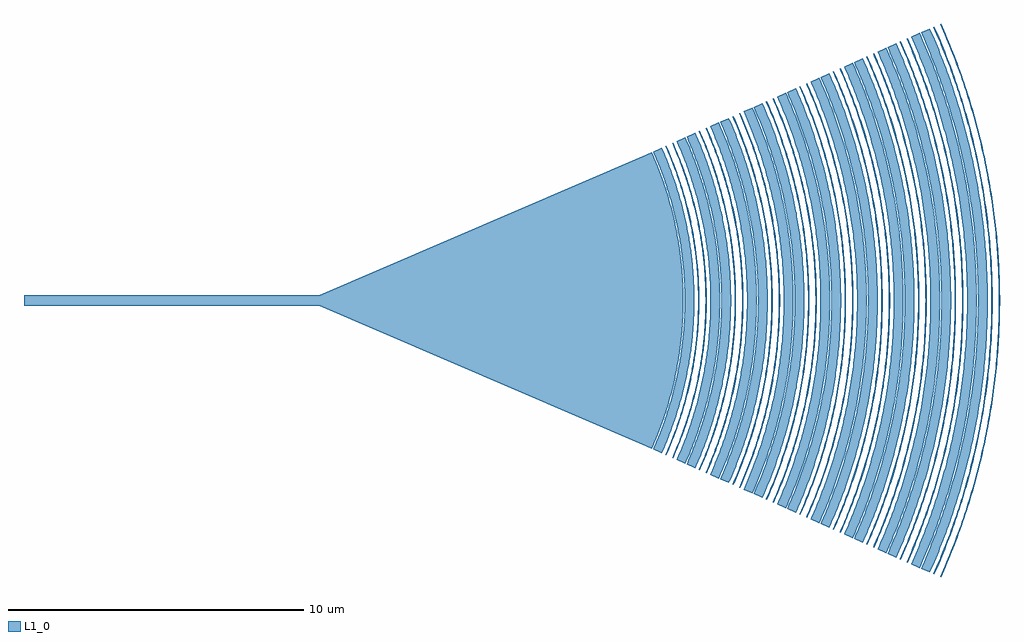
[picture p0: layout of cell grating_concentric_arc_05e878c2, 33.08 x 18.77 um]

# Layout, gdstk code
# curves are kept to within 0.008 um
import gdstk
lib = gdstk.Library(unit=1e-6, precision=2e-09)
def R(c, l, rs):  # rectangles x0, y0, x1, y1
    for r in rs: c.add(gdstk.rectangle(r[:2], r[2:], *l))
def P(c, l, *ps):  # polygons
    for p in ps: c.add(gdstk.Polygon(p, *l))
L1_0 = (1, 0)

straight_3aa2beef = lib.new_cell('straight_3aa2beef')
R(straight_3aa2beef, L1_0, [(0,-0.174,10,0.174)])

ring_c83c590c_transform_ = lib.new_cell('ring_c83c590c_transform_688dd2ba')
P(ring_c83c590c_transform_, L1_0, [(10.05,-4.474),(10.27,-3.942),(10.462,-3.4),(10.626,-2.848),(10.76,-2.288),(10.844,-1.848),(10.926,-1.278),(10.974,-0.768),(11,-0.128),(10.982,0.64),(10.94,1.15),(10.844,1.848),(10.76,2.288),(10.626,2.848),(10.462,3.4),(10.27,3.942),(10.05,4.474),(11.282,5.022),(11.58,4.292),(11.81,3.61),(12,2.918),(12.08,2.568),(12.198,1.932),(12.296,1.148),(12.32,0.862),(12.348,0.216),(12.336,-0.574),(12.314,-0.934),(12.258,-1.504),(12.136,-2.286),(12,-2.918),(11.91,-3.266),(11.788,-3.68),(11.58,-4.292),(11.282,-5.022)])

ring_425c78cd_transform_ = lib.new_cell('ring_425c78cd_transform_e641bb88')
P(ring_425c78cd_transform_, L1_0, [(11.32,-5.04),(11.57,-4.442),(11.764,-3.898),(11.952,-3.276),(12.09,-2.718),(12.192,-2.222),(12.282,-1.654),(12.352,-1.008),(12.388,-0.36),(12.388,0.36),(12.346,1.08),(12.262,1.796),(12.15,2.436),(12.042,2.928),(11.83,3.692),(11.57,4.442),(11.32,5.04),(11.62,5.174),(11.928,4.42),(12.186,3.648),(12.378,2.934),(12.514,2.282),(12.626,1.55),(12.69,0.888),(12.72,0.148),(12.71,-0.518),(12.658,-1.256),(12.54,-2.136),(12.378,-2.934),(12.186,-3.648),(11.928,-4.42),(11.62,-5.174)])

ring_7a5872f6_transform_ = lib.new_cell('ring_7a5872f6_transform_45ac41ae')
P(ring_7a5872f6_transform_, L1_0, [(11.736,-5.226),(11.94,-4.744),(12.172,-4.112),(12.308,-3.684),(12.41,-3.326),(12.484,-3.036),(12.566,-2.672),(12.652,-2.23),(12.712,-1.862),(12.752,-1.566),(12.792,-1.194),(12.826,-0.746),(12.84,-0.448),(12.846,-0.15),(12.84,0.448),(12.826,0.746),(12.792,1.194),(12.752,1.566),(12.712,1.862),(12.652,2.23),(12.582,2.598),(12.484,3.036),(12.41,3.326),(12.264,3.828),(12.172,4.112),(11.994,4.604),(11.884,4.882),(11.736,5.226),(11.772,5.242),(11.892,4.966),(12.058,4.548),(12.136,4.338),(12.28,3.91),(12.448,3.336),(12.54,2.972),(12.606,2.68),(12.692,2.238),(12.74,1.942),(12.782,1.644),(12.832,1.198),(12.87,0.674),(12.884,0.3),(12.886,-0.15),(12.87,-0.674),(12.856,-0.898),(12.832,-1.198),(12.8,-1.496),(12.762,-1.794),(12.692,-2.238),(12.574,-2.826),(12.486,-3.19),(12.388,-3.552),(12.28,-3.91),(12.136,-4.338),(11.948,-4.828),(11.772,-5.242)])

ring_21d6e040_transform_ = lib.new_cell('ring_21d6e040_transform_da95fec3')
P(ring_21d6e040_transform_, L1_0, [(11.966,-5.328),(12.228,-4.694),(12.334,-4.408),(12.456,-4.048),(12.526,-3.83),(12.652,-3.39),(12.812,-2.724),(12.872,-2.424),(12.948,-1.974),(13.026,-1.37),(13.076,-0.762),(13.09,-0.458),(13.098,-0.076),(13.096,0.228),(13.084,0.61),(13.066,0.914),(13.034,1.294),(12.96,1.898),(12.872,2.424),(12.812,2.724),(12.652,3.39),(12.526,3.83),(12.384,4.264),(12.282,4.552),(12.144,4.906),(11.966,5.328),(12.002,5.344),(12.238,4.78),(12.346,4.494),(12.518,3.986),(12.608,3.694),(12.71,3.326),(12.784,3.03),(12.882,2.582),(12.988,1.98),(13.04,1.602),(13.074,1.298),(13.106,0.916),(13.124,0.612),(13.136,0.23),(13.138,-0.076),(13.13,-0.458),(13.116,-0.764),(13.088,-1.144),(13.058,-1.45),(13.01,-1.828),(12.964,-2.13),(12.882,-2.582),(12.818,-2.88),(12.748,-3.178),(12.65,-3.548),(12.564,-3.84),(12.422,-4.278),(12.238,-4.78),(12.002,-5.344)])

ring_ad2b42c7_transform_ = lib.new_cell('ring_ad2b42c7_transform_9c88908b')
P(ring_ad2b42c7_transform_, L1_0, [(12.118,-5.396),(12.328,-4.898),(12.566,-4.246),(12.772,-3.582),(12.942,-2.908),(13.05,-2.38),(13.136,-1.846),(13.214,-1.156),(13.254,-0.54),(13.264,0.154),(13.238,0.848),(13.166,1.616),(13.05,2.38),(12.852,3.284),(12.662,3.952),(12.384,4.754),(12.118,5.396),(12.416,5.528),(12.718,4.796),(12.998,3.974),(13.208,3.212),(13.358,2.516),(13.46,1.892),(13.554,1.026),(13.59,0.238),(13.584,-0.474),(13.534,-1.264),(13.412,-2.204),(13.262,-2.98),(13.044,-3.822),(12.8,-4.574),(12.632,-5.018),(12.416,-5.528)])

ring_f38378d6_transform_ = lib.new_cell('ring_f38378d6_transform_d7ecdf96')
P(ring_f38378d6_transform_, L1_0, [(12.456,-5.546),(12.73,-4.886),(12.968,-4.214),(13.15,-3.606),(13.304,-2.99),(13.442,-2.29),(13.534,-1.662),(13.602,-0.952),(13.63,-0.396),(13.63,0.396),(13.584,1.188),(13.492,1.976),(13.37,2.68),(13.268,3.144),(13.15,3.606),(12.968,4.214),(12.73,4.886),(12.456,5.546),(12.756,5.68),(13.036,5.004),(13.304,4.238),(13.548,3.378),(13.722,2.584),(13.816,2.024),(13.878,1.54),(13.94,0.812),(13.962,0.162),(13.952,-0.568),(13.878,-1.54),(13.778,-2.264),(13.622,-3.062),(13.4,-3.926),(13.148,-4.7),(12.976,-5.156),(12.756,-5.68)])

ring_2936b866_transform_ = lib.new_cell('ring_2936b866_transform_9e675099')
P(ring_2936b866_transform_, L1_0, [(12.872,-5.73),(13.002,-5.43),(13.154,-5.05),(13.268,-4.742),(13.426,-4.276),(13.61,-3.646),(13.71,-3.25),(13.782,-2.93),(13.89,-2.366),(13.964,-1.88),(14.004,-1.554),(14.05,-1.064),(14.066,-0.82),(14.084,-0.41),(14.09,-0.082),(14.084,0.41),(14.066,0.82),(14.05,1.064),(14.004,1.554),(13.964,1.88),(13.89,2.366),(13.782,2.93),(13.71,3.25),(13.61,3.646),(13.426,4.276),(13.268,4.742),(13.154,5.05),(13.002,5.43),(12.872,5.73),(12.908,5.746),(13.07,5.37),(13.162,5.14),(13.306,4.756),(13.464,4.288),(13.56,3.974),(13.67,3.578),(13.768,3.178),(13.838,2.858),(13.956,2.21),(14.004,1.886),(14.044,1.558),(14.09,1.068),(14.106,0.822),(14.124,0.41),(14.13,-0.082),(14.124,-0.41),(14.106,-0.822),(14.09,-1.068),(14.044,-1.558),(14.004,-1.886),(13.956,-2.21),(13.886,-2.616),(13.804,-3.018),(13.67,-3.578),(13.56,-3.974),(13.464,-4.288),(13.36,-4.6),(13.162,-5.14),(12.942,-5.672),(12.908,-5.746)])

ring_adfab97c_transform_ = lib.new_cell('ring_adfab97c_transform_3f6d3942')
P(ring_adfab97c_transform_, L1_0, [(13.1,-5.832),(13.264,-5.45),(13.418,-5.062),(13.532,-4.748),(13.638,-4.432),(13.762,-4.032),(13.852,-3.712),(14.01,-3.064),(14.108,-2.572),(14.164,-2.244),(14.244,-1.664),(14.306,-1),(14.332,-0.5),(14.34,-0.166),(14.34,0.166),(14.332,0.5),(14.306,1),(14.27,1.416),(14.234,1.748),(14.164,2.244),(14.044,2.9),(13.992,3.144),(13.894,3.55),(13.808,3.872),(13.714,4.192),(13.586,4.59),(13.418,5.062),(13.264,5.45),(13.1,5.832),(13.136,5.848),(13.27,5.542),(13.454,5.076),(13.57,4.76),(13.702,4.364),(13.8,4.044),(13.912,3.64),(14.012,3.234),(14.1,2.826),(14.162,2.498),(14.24,2.002),(14.302,1.504),(14.326,1.254),(14.356,0.836),(14.372,0.502),(14.38,0.168),(14.38,-0.168),(14.372,-0.502),(14.356,-0.836),(14.302,-1.504),(14.252,-1.918),(14.19,-2.332),(14.1,-2.826),(14.012,-3.234),(13.912,-3.64),(13.8,-4.044),(13.702,-4.364),(13.542,-4.84),(13.364,-5.31),(13.204,-5.696),(13.136,-5.848)])

ring_77225201_transform_ = lib.new_cell('ring_77225201_transform_0a838d57')
P(ring_77225201_transform_, L1_0, [(13.252,-5.9),(13.544,-5.198),(13.744,-4.644),(13.922,-4.08),(14.136,-3.264),(14.272,-2.602),(14.378,-1.936),(14.452,-1.264),(14.498,-0.506),(14.498,0.506),(14.452,1.264),(14.342,2.186),(14.208,2.934),(14.034,3.674),(13.922,4.08),(13.77,4.564),(13.544,5.198),(13.252,5.9),(13.552,6.034),(13.85,5.316),(14.082,4.666),(14.33,3.84),(14.546,2.916),(14.702,1.98),(14.786,1.206),(14.83,0.346),(14.826,-0.518),(14.754,-1.55),(14.666,-2.236),(14.546,-2.916),(14.474,-3.252),(14.352,-3.756),(14.236,-4.172),(13.94,-5.074),(13.722,-5.638),(13.552,-6.034)])

ring_911f8084_transform_ = lib.new_cell('ring_911f8084_transform_986fa7ea')
P(ring_911f8084_transform_, L1_0, [(13.592,-6.052),(13.89,-5.332),(14.096,-4.762),(14.302,-4.1),(14.516,-3.262),(14.652,-2.584),(14.778,-1.728),(14.836,-1.124),(14.872,-0.432),(14.872,0.432),(14.822,1.296),(14.778,1.728),(14.708,2.242),(14.588,2.924),(14.436,3.6),(14.278,4.184),(14.15,4.598),(13.89,5.332),(13.592,6.052),(13.89,6.184),(14.196,5.45),(14.462,4.698),(14.688,3.936),(14.892,3.074),(15.058,2.116),(15.148,1.326),(15.202,0.354),(15.202,-0.354),(15.148,-1.326),(15.032,-2.292),(14.874,-3.162),(14.754,-3.678),(14.616,-4.192),(14.462,-4.698),(14.258,-5.284),(14.132,-5.614),(13.89,-6.184)])

ring_e3a39798_transform_ = lib.new_cell('ring_e3a39798_transform_1bb64503')
P(ring_e3a39798_transform_, L1_0, [(14.006,-6.236),(14.114,-5.99),(14.282,-5.578),(14.408,-5.244),(14.526,-4.908),(14.714,-4.312),(14.81,-3.968),(14.96,-3.362),(15.034,-3.014),(15.1,-2.662),(15.158,-2.31),(15.218,-1.868),(15.282,-1.248),(15.312,-0.802),(15.332,-0.178),(15.332,0.178),(15.32,0.624),(15.282,1.248),(15.258,1.514),(15.196,2.046),(15.158,2.31),(15.034,3.014),(14.898,3.622),(14.81,3.968),(14.688,4.398),(14.526,4.908),(14.346,5.412),(14.216,5.744),(14.006,6.236),(14.044,6.252),(14.22,5.842),(14.352,5.508),(14.506,5.09),(14.648,4.666),(14.752,4.324),(14.872,3.892),(15.018,3.284),(15.09,2.934),(15.154,2.582),(15.21,2.228),(15.288,1.606),(15.322,1.25),(15.352,0.804),(15.372,0.178),(15.372,-0.178),(15.36,-0.626),(15.34,-0.984),(15.306,-1.428),(15.258,-1.874),(15.154,-2.582),(15.09,-2.934),(15.018,-3.284),(14.894,-3.806),(14.752,-4.324),(14.648,-4.666),(14.506,-5.09),(14.286,-5.676),(14.08,-6.17),(14.044,-6.252)])

ring_db433b30_transform_ = lib.new_cell('ring_db433b30_transform_a9c5da41')
P(ring_db433b30_transform_, L1_0, [(14.236,-6.338),(14.38,-6.006),(14.548,-5.584),(14.674,-5.244),(14.792,-4.902),(14.928,-4.47),(15.052,-4.034),(15.142,-3.682),(15.224,-3.328),(15.362,-2.616),(15.432,-2.168),(15.478,-1.81),(15.532,-1.268),(15.562,-0.816),(15.582,-0.182),(15.582,0.182),(15.574,0.544),(15.562,0.816),(15.516,1.448),(15.478,1.81),(15.432,2.168),(15.362,2.616),(15.296,2.974),(15.224,3.328),(15.098,3.858),(14.98,4.296),(14.876,4.642),(14.734,5.074),(14.58,5.5),(14.38,6.006),(14.236,6.338),(14.272,6.354),(14.486,5.852),(14.618,5.514),(14.772,5.086),(14.886,4.742),(15.018,4.306),(15.114,3.956),(15.282,3.248),(15.37,2.802),(15.416,2.534),(15.458,2.264),(15.538,1.634),(15.564,1.362),(15.602,0.818),(15.622,0.182),(15.622,-0.182),(15.602,-0.818),(15.564,-1.362),(15.528,-1.724),(15.458,-2.264),(15.416,-2.534),(15.336,-2.98),(15.242,-3.426),(15.114,-3.956),(15.018,-4.306),(14.914,-4.654),(14.772,-5.086),(14.618,-5.514),(14.416,-6.02),(14.272,-6.354)])

ring_ddf0a15f_transform_ = lib.new_cell('ring_ddf0a15f_transform_2fabe5f4')
P(ring_ddf0a15f_transform_, L1_0, [(14.388,-6.406),(14.704,-5.644),(14.922,-5.04),(15.14,-4.342),(15.366,-3.454),(15.526,-2.644),(15.632,-1.92),(15.712,-1.098),(15.746,-0.366),(15.746,0.366),(15.698,1.282),(15.584,2.282),(15.442,3.096),(15.26,3.898),(15.006,4.78),(14.704,5.644),(14.388,6.406),(14.688,6.54),(15.01,5.762),(15.348,4.79),(15.6,3.89),(15.8,2.976),(15.934,2.144),(16.032,1.214),(16.056,0.842),(16.076,0.188),(16.068,-0.562),(16.008,-1.494),(15.958,-1.96),(15.88,-2.516),(15.8,-2.976),(15.686,-3.526),(15.48,-4.342),(15.348,-4.79),(15.14,-5.41),(14.942,-5.936),(14.688,-6.54)])

ring_08573ffb_transform_ = lib.new_cell('ring_08573ffb_transform_5d7033c2')
P(ring_08573ffb_transform_, L1_0, [(14.726,-6.556),(15.05,-5.776),(15.332,-4.982),(15.522,-4.354),(15.708,-3.626),(15.876,-2.8),(16.012,-1.872),(16.088,-1.03),(16.114,-0.468),(16.114,0.468),(16.088,1.03),(16.042,1.592),(15.922,2.522),(15.788,3.26),(15.642,3.9),(15.522,4.354),(15.332,4.982),(15.05,5.776),(14.726,6.556),(15.026,6.69),(15.356,5.894),(15.614,5.174),(15.888,4.258),(16.128,3.232),(16.288,2.29),(16.386,1.434),(16.438,0.574),(16.444,-0.382),(16.394,-1.338),(16.288,-2.29),(16.128,-3.232),(15.888,-4.258),(15.73,-4.808),(15.52,-5.446),(15.286,-6.072),(15.026,-6.69)])

ring_ad8792a6_transform_ = lib.new_cell('ring_ad8792a6_transform_504b8764')
P(ring_ad8792a6_transform_, L1_0, [(15.142,-6.742),(15.258,-6.476),(15.44,-6.03),(15.576,-5.668),(15.734,-5.214),(15.96,-4.476),(16.106,-3.916),(16.172,-3.634),(16.252,-3.258),(16.34,-2.784),(16.386,-2.498),(16.452,-2.02),(16.504,-1.54),(16.528,-1.252),(16.562,-0.674),(16.574,-0.192),(16.574,0.192),(16.562,0.674),(16.528,1.252),(16.504,1.54),(16.452,2.02),(16.386,2.498),(16.34,2.784),(16.252,3.258),(16.106,3.916),(16.01,4.29),(15.906,4.662),(15.794,5.03),(15.64,5.488),(15.44,6.03),(15.258,6.476),(15.142,6.742),(15.178,6.758),(15.332,6.402),(15.512,5.954),(15.71,5.41),(15.832,5.042),(15.972,4.58),(16.074,4.206),(16.122,4.02),(16.272,3.36),(16.346,2.98),(16.426,2.504),(16.534,1.64),(16.568,1.256),(16.592,0.87),(16.614,0.194),(16.614,-0.194),(16.592,-0.87),(16.568,-1.256),(16.514,-1.832),(16.426,-2.504),(16.346,-2.98),(16.232,-3.548),(16.122,-4.02),(15.972,-4.58),(15.832,-5.042),(15.71,-5.41),(15.512,-5.954),(15.294,-6.492),(15.178,-6.758)])

ring_8136aac0_transform_ = lib.new_cell('ring_8136aac0_transform_05e54799')
P(ring_8136aac0_transform_, L1_0, [(15.37,-6.844),(15.564,-6.394),(15.708,-6.03),(15.844,-5.662),(15.972,-5.292),(16.09,-4.92),(16.226,-4.45),(16.326,-4.07),(16.438,-3.594),(16.57,-2.922),(16.634,-2.536),(16.688,-2.148),(16.734,-1.758),(16.778,-1.272),(16.808,-0.782),(16.826,-0.098),(16.816,0.588),(16.808,0.782),(16.778,1.272),(16.744,1.662),(16.688,2.148),(16.634,2.536),(16.57,2.922),(16.498,3.306),(16.416,3.69),(16.278,4.26),(16.174,4.638),(16.062,5.012),(15.94,5.386),(15.708,6.03),(15.564,6.394),(15.37,6.844),(15.408,6.86),(15.638,6.318),(15.746,6.044),(15.882,5.676),(16.01,5.304),(16.156,4.838),(16.29,4.366),(16.388,3.984),(16.476,3.602),(16.61,2.928),(16.688,2.444),(16.752,1.958),(16.802,1.47),(16.848,0.784),(16.866,0),(16.848,-0.784),(16.802,-1.47),(16.752,-1.958),(16.688,-2.444),(16.61,-2.928),(16.476,-3.602),(16.34,-4.176),(16.212,-4.648),(16.1,-5.024),(15.978,-5.398),(15.746,-6.044),(15.562,-6.5),(15.408,-6.86)])

ring_7fa26752_transform_ = lib.new_cell('ring_7fa26752_transform_cb99a085')
P(ring_7fa26752_transform_, L1_0, [(15.524,-6.912),(15.864,-6.09),(16.13,-5.344),(16.388,-4.494),(16.6,-3.63),(16.768,-2.756),(16.878,-1.972),(16.958,-1.086),(16.988,-0.396),(16.982,0.594),(16.928,1.48),(16.878,1.972),(16.798,2.56),(16.642,3.436),(16.414,4.398),(16.13,5.344),(15.864,6.09),(15.524,6.912),(15.822,7.044),(16.206,6.112),(16.534,5.16),(16.756,4.386),(16.982,3.404),(17.152,2.41),(17.254,1.51),(17.31,0.604),(17.316,-0.404),(17.302,-0.806),(17.254,-1.51),(17.152,-2.41),(17.074,-2.908),(16.942,-3.6),(16.704,-4.58),(16.534,-5.16),(16.276,-5.924),(16.02,-6.582),(15.822,-7.044)])

ring_41d2412d_transform_ = lib.new_cell('ring_41d2412d_transform_a98bd702')
P(ring_41d2412d_transform_, L1_0, [(15.862,-7.062),(16.174,-6.316),(16.45,-5.558),(16.718,-4.688),(16.918,-3.906),(17.1,-3.016),(17.234,-2.116),(17.314,-1.312),(17.356,-0.504),(17.356,0.504),(17.306,1.412),(17.208,2.316),(17.134,2.816),(17.044,3.312),(16.918,3.906),(16.798,4.396),(16.514,5.366),(16.174,6.316),(15.862,7.062),(16.162,7.196),(16.516,6.34),(16.888,5.27),(17.166,4.28),(17.366,3.376),(17.504,2.564),(17.624,1.542),(17.684,0.514),(17.684,-0.514),(17.624,-1.542),(17.504,-2.564),(17.326,-3.578),(17.166,-4.28),(17.034,-4.778),(16.888,-5.27),(16.624,-6.05),(16.402,-6.628),(16.162,-7.196)])

ring_1eb0174c_transform_ = lib.new_cell('ring_1eb0174c_transform_f3d92c3c')
P(ring_1eb0174c_transform_, L1_0, [(16.278,-7.248),(16.442,-6.866),(16.708,-6.192),(16.978,-5.408),(17.184,-4.712),(17.338,-4.108),(17.45,-3.602),(17.51,-3.298),(17.63,-2.582),(17.72,-1.862),(17.75,-1.552),(17.794,-0.932),(17.818,-0.104),(17.81,0.518),(17.794,0.932),(17.75,1.552),(17.72,1.862),(17.63,2.582),(17.582,2.89),(17.45,3.602),(17.338,4.108),(17.184,4.712),(16.978,5.408),(16.708,6.192),(16.442,6.866),(16.278,7.248),(16.314,7.264),(16.558,6.69),(16.672,6.4),(16.816,6.01),(17.016,5.42),(17.166,4.922),(17.276,4.522),(17.4,4.018),(17.468,3.712),(17.568,3.204),(17.638,2.794),(17.712,2.28),(17.76,1.866),(17.79,1.556),(17.828,1.038),(17.85,0.52),(17.858,-0.104),(17.85,-0.52),(17.828,-1.038),(17.79,-1.556),(17.76,-1.866),(17.712,-2.28),(17.638,-2.794),(17.53,-3.408),(17.446,-3.814),(17.352,-4.22),(17.222,-4.722),(17.108,-5.122),(16.918,-5.716),(16.672,-6.4),(16.438,-6.978),(16.314,-7.264)])

ring_cddca096_transform_ = lib.new_cell('ring_cddca096_transform_5e627b1f')
P(ring_cddca096_transform_, L1_0, [(16.506,-7.348),(16.632,-7.06),(16.83,-6.574),(17.05,-5.982),(17.184,-5.584),(17.368,-4.98),(17.48,-4.574),(17.652,-3.86),(17.756,-3.344),(17.846,-2.826),(17.934,-2.202),(17.97,-1.888),(18,-1.574),(18.044,-0.946),(18.064,-0.42),(18.068,-0.106),(18.064,0.42),(18.044,0.946),(18,1.574),(17.97,1.888),(17.934,2.202),(17.846,2.826),(17.756,3.344),(17.674,3.756),(17.48,4.574),(17.368,4.98),(17.248,5.382),(17.05,5.982),(16.906,6.376),(16.712,6.866),(16.506,7.348),(16.542,7.366),(16.71,6.978),(16.906,6.49),(17.122,5.896),(17.222,5.596),(17.348,5.194),(17.464,4.788),(17.596,4.278),(17.734,3.662),(17.796,3.352),(17.902,2.728),(17.96,2.312),(18.02,1.788),(18.048,1.474),(18.084,0.948),(18.104,0.422),(18.108,-0.106),(18.104,-0.422),(18.078,-1.052),(18.04,-1.578),(17.998,-1.998),(17.932,-2.52),(17.868,-2.936),(17.776,-3.456),(17.668,-3.97),(17.596,-4.278),(17.436,-4.89),(17.286,-5.394),(17.122,-5.896),(16.906,-6.49),(16.71,-6.978),(16.542,-7.366)])

ring_32dd1939_transform_ = lib.new_cell('ring_32dd1939_transform_3ad0a9d1')
P(ring_32dd1939_transform_, L1_0, [(16.658,-7.416),(16.986,-6.634),(17.31,-5.736),(17.558,-4.924),(17.768,-4.102),(17.94,-3.27),(18.086,-2.328),(18.166,-1.59),(18.228,-0.53),(18.228,0.53),(18.166,1.59),(18.058,2.538),(17.88,3.584),(17.744,4.206),(17.614,4.72),(17.31,5.736),(16.986,6.634),(16.658,7.416),(16.958,7.55),(17.33,6.652),(17.688,5.634),(17.844,5.116),(18.012,4.49),(18.222,3.542),(18.382,2.584),(18.492,1.618),(18.552,0.648),(18.558,-0.432),(18.51,-1.402),(18.45,-2.048),(18.382,-2.584),(18.222,-3.542),(18.062,-4.28),(17.902,-4.908),(17.688,-5.634),(17.48,-6.248),(17.17,-7.054),(16.958,-7.55)])

ring_471c5b11_transform_ = lib.new_cell('ring_471c5b11_transform_77c84a3b')
P(ring_471c5b11_transform_, L1_0, [(16.998,-7.568),(17.292,-6.87),(17.662,-5.852),(17.944,-4.92),(18.128,-4.186),(18.304,-3.338),(18.454,-2.374),(18.544,-1.514),(18.598,-0.542),(18.606,0.108),(18.568,1.19),(18.504,1.944),(18.394,2.804),(18.304,3.338),(18.176,3.974),(18,4.71),(17.824,5.336),(17.662,5.852),(17.484,6.364),(17.292,6.87),(16.998,7.568),(17.296,7.7),(17.676,6.786),(17.866,6.268),(18.074,5.64),(18.344,4.688),(18.586,3.612),(18.764,2.526),(18.83,1.98),(18.88,1.43),(18.926,0.55),(18.926,-0.55),(18.862,-1.65),(18.806,-2.198),(18.718,-2.852),(18.52,-3.936),(18.398,-4.474),(18.26,-5.006),(18.074,-5.64),(17.792,-6.476),(17.514,-7.194),(17.296,-7.7)])

ring_c1d80bca_transform_ = lib.new_cell('ring_c1d80bca_transform_26f35a74')
P(ring_c1d80bca_transform_, L1_0, [(17.412,-7.752),(17.588,-7.346),(17.834,-6.726),(17.986,-6.31),(18.128,-5.89),(18.26,-5.466),(18.44,-4.826),(18.572,-4.288),(18.644,-3.962),(18.71,-3.636),(18.826,-2.982),(18.89,-2.542),(18.956,-1.992),(19.022,-1.218),(19.052,-0.554),(19.06,-0.11),(19.058,0.332),(19.04,0.886),(19.006,1.44),(18.956,1.992),(18.89,2.542),(18.826,2.982),(18.71,3.636),(18.644,3.962),(18.572,4.288),(18.44,4.826),(18.322,5.254),(18.162,5.784),(17.986,6.31),(17.834,6.726),(17.588,7.346),(17.412,7.752),(17.448,7.768),(17.668,7.258),(17.792,6.948),(17.986,6.428),(18.166,5.902),(18.33,5.372),(18.45,4.944),(18.586,4.404),(18.706,3.862),(18.81,3.316),(18.882,2.878),(18.958,2.328),(19.018,1.776),(19.054,1.332),(19.08,0.888),(19.098,0.334),(19.1,-0.112),(19.092,-0.556),(19.068,-1.11),(19.028,-1.664),(18.984,-2.106),(18.93,-2.548),(18.848,-3.098),(18.75,-3.644),(18.66,-4.08),(18.56,-4.512),(18.45,-4.944),(18.266,-5.584),(18.096,-6.114),(17.91,-6.636),(17.668,-7.258),(17.448,-7.768)])

ring_ed7d0b69_transform_ = lib.new_cell('ring_ed7d0b69_transform_3fb5b141')
P(ring_ed7d0b69_transform_, L1_0, [(17.642,-7.854),(17.82,-7.442),(17.988,-7.026),(18.222,-6.394),(18.366,-5.968),(18.5,-5.538),(18.624,-5.106),(18.738,-4.672),(18.816,-4.344),(18.912,-3.904),(19.018,-3.354),(19.09,-2.91),(19.18,-2.242),(19.228,-1.794),(19.272,-1.234),(19.29,-0.898),(19.31,-0.224),(19.308,0.338),(19.29,0.898),(19.272,1.234),(19.228,1.794),(19.18,2.242),(19.09,2.91),(19.018,3.354),(18.912,3.904),(18.816,4.344),(18.682,4.89),(18.594,5.214),(18.434,5.754),(18.222,6.394),(18.108,6.71),(17.988,7.026),(17.82,7.442),(17.642,7.854),(17.678,7.87),(17.9,7.354),(18.106,6.83),(18.26,6.406),(18.404,5.98),(18.506,5.658),(18.692,5.008),(18.88,4.244),(18.974,3.802),(19.076,3.25),(19.13,2.916),(19.178,2.582),(19.256,1.91),(19.296,1.462),(19.33,0.9),(19.35,0.226),(19.35,-0.226),(19.33,-0.9),(19.304,-1.35),(19.256,-1.91),(19.22,-2.246),(19.162,-2.694),(19.076,-3.25),(18.996,-3.692),(18.88,-4.244),(18.776,-4.682),(18.632,-5.226),(18.472,-5.766),(18.26,-6.406),(18.106,-6.83),(17.984,-7.144),(17.724,-7.768),(17.678,-7.87)])

ring_68b7bd98_transform_ = lib.new_cell('ring_68b7bd98_transform_78790bce')
P(ring_68b7bd98_transform_, L1_0, [(17.794,-7.922),(18.184,-6.98),(18.524,-6.018),(18.814,-5.042),(19.004,-4.27),(19.162,-3.494),(19.304,-2.598),(19.404,-1.698),(19.47,-0.566),(19.472,0.454),(19.438,1.246),(19.346,2.262),(19.256,2.934),(19.162,3.494),(19.004,4.27),(18.872,4.822),(18.692,5.478),(18.342,6.556),(18.102,7.192),(17.794,7.922),(18.092,8.056),(18.49,7.098),(18.872,6.01),(19.16,5.014),(19.298,4.456),(19.442,3.778),(19.562,3.098),(19.644,2.528),(19.74,1.612),(19.794,0.692),(19.806,0),(19.8,-0.46),(19.784,-0.922),(19.74,-1.612),(19.672,-2.3),(19.596,-2.87),(19.504,-3.44),(19.396,-4.004),(19.272,-4.568),(19.1,-5.238),(18.872,-6.01),(18.65,-6.666),(18.406,-7.312),(18.092,-8.056)])

ring_5797bc1a_transform_ = lib.new_cell('ring_5797bc1a_transform_cdb834e8')
P(ring_5797bc1a_transform_, L1_0, [(18.132,-8.072),(18.53,-7.112),(18.84,-6.244),(19.142,-5.248),(19.366,-4.352),(19.484,-3.788),(19.586,-3.218),(19.728,-2.19),(19.808,-1.27),(19.846,-0.346),(19.84,0.578),(19.792,1.5),(19.728,2.19),(19.586,3.218),(19.484,3.788),(19.366,4.352),(19.202,5.026),(19.048,5.582),(18.84,6.244),(18.652,6.788),(18.36,7.542),(18.132,8.072),(18.432,8.206),(18.618,7.776),(18.878,7.12),(19.26,6.012),(19.548,4.994),(19.806,3.85),(19.98,2.808),(20.1,1.758),(20.142,1.174),(20.168,0.586),(20.168,-0.586),(20.142,-1.174),(20.1,-1.758),(20.04,-2.342),(19.946,-3.04),(19.76,-4.08),(19.632,-4.652),(19.458,-5.336),(19.26,-6.012),(18.96,-6.9),(18.75,-7.45),(18.432,-8.206)])

ring_ce6c0f29_transform_ = lib.new_cell('ring_ce6c0f29_transform_e66cf18d')
P(ring_ce6c0f29_transform_, L1_0, [(18.548,-8.258),(18.78,-7.714),(18.912,-7.386),(19.158,-6.722),(19.31,-6.274),(19.484,-5.71),(19.642,-5.14),(19.756,-4.682),(19.86,-4.222),(19.974,-3.642),(20.034,-3.292),(20.106,-2.826),(20.166,-2.358),(20.226,-1.77),(20.262,-1.298),(20.286,-0.826),(20.302,-0.236),(20.302,0.236),(20.286,0.826),(20.254,1.416),(20.204,2.004),(20.166,2.358),(20.106,2.826),(19.974,3.642),(19.884,4.106),(19.756,4.682),(19.642,5.14),(19.484,5.71),(19.346,6.162),(19.158,6.722),(18.996,7.166),(18.78,7.714),(18.548,8.258),(18.584,8.274),(18.772,7.84),(19.034,7.18),(19.196,6.734),(19.384,6.174),(19.522,5.72),(19.71,5.036),(19.822,4.576),(19.946,3.998),(20.034,3.532),(20.128,2.948),(20.192,2.48),(20.244,2.008),(20.294,1.42),(20.326,0.828),(20.342,0.236),(20.342,-0.236),(20.326,-0.828),(20.302,-1.3),(20.266,-1.772),(20.206,-2.362),(20.128,-2.948),(20.074,-3.3),(19.992,-3.766),(19.874,-4.346),(19.794,-4.692),(19.65,-5.266),(19.522,-5.72),(19.348,-6.286),(19.076,-7.068),(18.862,-7.62),(18.584,-8.274)])

ring_b44f9a86_transform_ = lib.new_cell('ring_b44f9a86_transform_2a0dffc0')
P(ring_b44f9a86_transform_, L1_0, [(18.776,-8.36),(19.012,-7.81),(19.188,-7.366),(19.354,-6.918),(19.548,-6.352),(19.758,-5.666),(19.884,-5.204),(20,-4.74),(20.104,-4.274),(20.176,-3.922),(20.282,-3.334),(20.354,-2.86),(20.428,-2.268),(20.486,-1.672),(20.526,-1.076),(20.548,-0.478),(20.554,0),(20.548,0.478),(20.526,1.076),(20.486,1.672),(20.428,2.268),(20.354,2.86),(20.282,3.334),(20.176,3.922),(20.104,4.274),(20,4.74),(19.914,5.088),(19.758,5.666),(19.656,6.01),(19.548,6.352),(19.314,7.03),(19.102,7.588),(18.92,8.03),(18.776,8.36),(18.812,8.376),(19.048,7.826),(19.226,7.38),(19.352,7.044),(19.586,6.364),(19.762,5.792),(19.892,5.33),(20.038,4.75),(20.144,4.282),(20.26,3.694),(20.34,3.222),(20.41,2.748),(20.468,2.272),(20.504,1.914),(20.552,1.316),(20.588,0.48),(20.594,0),(20.588,-0.48),(20.552,-1.316),(20.504,-1.914),(20.468,-2.272),(20.41,-2.748),(20.34,-3.222),(20.26,-3.694),(20.144,-4.282),(20.038,-4.75),(19.892,-5.33),(19.694,-6.02),(19.51,-6.592),(19.352,-7.044),(19.226,-7.38),(19.048,-7.826),(18.812,-8.376)])

ring_49ac115e_transform_ = lib.new_cell('ring_49ac115e_transform_61b09ad3')
P(ring_49ac115e_transform_, L1_0, [(18.928,-8.428),(19.212,-7.762),(19.592,-6.746),(19.918,-5.712),(20.19,-4.66),(20.406,-3.598),(20.566,-2.526),(20.652,-1.686),(20.712,-0.602),(20.712,0.602),(20.67,1.446),(20.566,2.526),(20.446,3.36),(20.34,3.954),(20.19,4.66),(20.076,5.13),(19.85,5.942),(19.512,6.974),(19.212,7.762),(18.928,8.428),(19.228,8.56),(19.516,7.884),(19.694,7.428),(20.056,6.388),(20.362,5.33),(20.536,4.616),(20.638,4.136),(20.826,3.05),(20.906,2.444),(20.968,1.834),(21.012,1.224),(21.042,0.49),(21.042,-0.49),(20.988,-1.59),(20.92,-2.322),(20.86,-2.808),(20.77,-3.414),(20.662,-4.016),(20.536,-4.616),(20.362,-5.33),(20.164,-6.036),(19.902,-6.852),(19.606,-7.658),(19.228,-8.56)])

ring_c30d24a6_transform_ = lib.new_cell('ring_c30d24a6_transform_f4ebc484')
P(ring_c30d24a6_transform_, L1_0, [(19.268,-8.578),(19.646,-7.672),(19.982,-6.75),(20.308,-5.696),(20.578,-4.624),(20.792,-3.542),(20.934,-2.57),(21.04,-1.472),(21.086,-0.49),(21.086,0.49),(21.04,1.472),(20.976,2.204),(20.832,3.3),(20.704,4.024),(20.578,4.624),(20.404,5.34),(20.24,5.932),(19.982,6.75),(19.734,7.444),(19.556,7.9),(19.268,8.578),(19.566,8.712),(19.906,7.908),(20.17,7.208),(20.332,6.738),(20.656,5.664),(20.842,4.94),(20.976,4.332),(21.094,3.72),(21.174,3.228),(21.274,2.486),(21.338,1.866),(21.406,0.748),(21.416,-0.374),(21.396,-0.996),(21.358,-1.618),(21.302,-2.238),(21.228,-2.858),(21.072,-3.842),(20.898,-4.696),(20.752,-5.302),(20.554,-6.024),(20.252,-6.974),(19.906,-7.908),(19.618,-8.598),(19.566,-8.712)])

ring_088c2a13_transform_ = lib.new_cell('ring_088c2a13_transform_f3c9c0f7')
P(ring_088c2a13_transform_, L1_0, [(19.682,-8.764),(19.93,-8.188),(20.07,-7.838),(20.288,-7.252),(20.452,-6.776),(20.604,-6.3),(20.812,-5.576),(20.906,-5.212),(21.022,-4.724),(21.126,-4.234),(21.24,-3.618),(21.336,-2.998),(21.4,-2.502),(21.464,-1.878),(21.502,-1.378),(21.528,-0.878),(21.546,-0.126),(21.54,0.502),(21.528,0.878),(21.502,1.378),(21.44,2.128),(21.37,2.75),(21.3,3.246),(21.24,3.618),(21.126,4.234),(21.022,4.724),(20.906,5.212),(20.812,5.576),(20.604,6.3),(20.372,7.014),(20.114,7.722),(19.93,8.188),(19.682,8.764),(19.72,8.78),(19.87,8.434),(20.152,7.736),(20.41,7.028),(20.568,6.55),(20.75,5.95),(20.882,5.466),(21.004,4.978),(21.114,4.488),(21.236,3.872),(21.32,3.376),(21.376,3.004),(21.468,2.256),(21.524,1.63),(21.556,1.13),(21.58,0.502),(21.586,0),(21.58,-0.502),(21.556,-1.13),(21.524,-1.63),(21.468,-2.256),(21.376,-3.004),(21.3,-3.5),(21.236,-3.872),(21.088,-4.61),(20.914,-5.344),(20.75,-5.95),(20.606,-6.43),(20.41,-7.028),(20.152,-7.736),(19.87,-8.434),(19.72,-8.78)])

ring_c1351dca_transform_ = lib.new_cell('ring_c1351dca_transform_6754ff08')
P(ring_c1351dca_transform_, L1_0, [(19.912,-8.866),(20.112,-8.4),(20.394,-7.692),(20.524,-7.336),(20.73,-6.736),(20.88,-6.252),(21.054,-5.642),(21.238,-4.904),(21.32,-4.532),(21.42,-4.034),(21.548,-3.284),(21.634,-2.656),(21.69,-2.152),(21.724,-1.774),(21.76,-1.268),(21.79,-0.508),(21.796,-0.126),(21.79,0.508),(21.778,0.888),(21.752,1.394),(21.69,2.152),(21.634,2.656),(21.548,3.284),(21.42,4.034),(21.346,4.408),(21.238,4.904),(21.118,5.396),(20.952,6.008),(20.806,6.494),(20.65,6.976),(20.394,7.692),(20.112,8.4),(19.912,8.866),(19.948,8.882),(20.15,8.414),(20.386,7.826),(20.604,7.23),(20.768,6.748),(20.882,6.384),(21.092,5.652),(21.248,5.036),(21.41,4.292),(21.526,3.666),(21.606,3.164),(21.674,2.662),(21.73,2.156),(21.792,1.396),(21.818,0.89),(21.83,0.508),(21.836,-0.128),(21.818,-0.89),(21.792,-1.396),(21.742,-2.03),(21.674,-2.662),(21.606,-3.164),(21.526,-3.666),(21.41,-4.292),(21.332,-4.664),(21.218,-5.16),(21.092,-5.652),(20.882,-6.384),(20.688,-6.988),(20.476,-7.588),(20.198,-8.298),(19.948,-8.882)])

ring_15236325_transform_ = lib.new_cell('ring_15236325_transform_ad76f9cd')
P(ring_15236325_transform_, L1_0, [(20.064,-8.934),(20.458,-7.99),(20.808,-7.03),(21.112,-6.054),(21.28,-5.438),(21.456,-4.692),(21.63,-3.814),(21.712,-3.31),(21.814,-2.55),(21.91,-1.532),(21.96,-0.384),(21.954,0.638),(21.9,1.66),(21.784,2.804),(21.63,3.814),(21.456,4.692),(21.34,5.19),(21.248,5.56),(21.004,6.422),(20.808,7.03),(20.55,7.752),(20.316,8.346),(20.064,8.934),(20.364,9.066),(20.764,8.11),(21.034,7.38),(21.24,6.764),(21.564,5.644),(21.72,5.014),(21.856,4.38),(22.056,3.23),(22.14,2.588),(22.206,1.942),(22.272,0.908),(22.29,0.13),(22.284,-0.518),(22.26,-1.166),(22.206,-1.942),(22.092,-2.974),(21.996,-3.616),(21.856,-4.38),(21.72,-5.014),(21.564,-5.644),(21.316,-6.518),(21.034,-7.38),(20.764,-8.11),(20.364,-9.066)])

ring_7b63d5cc_transform_ = lib.new_cell('ring_7b63d5cc_transform_71c05de7')
P(ring_7b63d5cc_transform_, L1_0, [(20.402,-9.084),(20.804,-8.124),(21.2,-7.024),(21.504,-6.03),(21.762,-5.024),(21.972,-4.006),(22.098,-3.236),(22.168,-2.722),(22.28,-1.558),(22.328,-0.52),(22.328,0.52),(22.28,1.558),(22.168,2.722),(22.038,3.622),(21.924,4.262),(21.762,5.024),(21.606,5.654),(21.396,6.406),(21.2,7.024),(20.942,7.76),(20.708,8.366),(20.402,9.084),(20.702,9.218),(20.962,8.612),(21.156,8.122),(21.384,7.502),(21.592,6.878),(21.784,6.246),(21.956,5.61),(22.22,4.454),(22.34,3.806),(22.422,3.284),(22.564,2.106),(22.606,1.58),(22.648,0.79),(22.662,0),(22.656,-0.528),(22.63,-1.186),(22.586,-1.844),(22.538,-2.368),(22.458,-3.024),(22.362,-3.676),(22.22,-4.454),(21.956,-5.61),(21.71,-6.5),(21.384,-7.502),(21.012,-8.49),(20.702,-9.218)])

ring_4096f0a4_transform_ = lib.new_cell('ring_4096f0a4_transform_5ad920bc')
P(ring_4096f0a4_transform_, L1_0, [(20.818,-9.268),(21.028,-8.782),(21.178,-8.414),(21.414,-7.794),(21.632,-7.168),(21.754,-6.79),(21.942,-6.154),(22.112,-5.512),(22.262,-4.868),(22.37,-4.348),(22.508,-3.564),(22.602,-2.908),(22.664,-2.382),(22.702,-1.986),(22.75,-1.326),(22.77,-0.928),(22.788,-0.132),(22.782,0.53),(22.764,1.06),(22.742,1.458),(22.702,1.986),(22.664,2.382),(22.602,2.908),(22.508,3.564),(22.442,3.958),(22.318,4.608),(22.174,5.256),(22.046,5.77),(21.906,6.282),(21.754,6.79),(21.59,7.294),(21.322,8.042),(21.028,8.782),(20.818,9.268),(20.854,9.284),(21.014,8.92),(21.312,8.18),(21.54,7.558),(21.752,6.928),(21.944,6.292),(22.118,5.652),(22.33,4.746),(22.482,3.964),(22.568,3.44),(22.642,2.914),(22.73,2.122),(22.782,1.46),(22.81,0.93),(22.822,0.532),(22.828,-0.132),(22.81,-0.93),(22.782,-1.46),(22.742,-1.99),(22.674,-2.65),(22.606,-3.178),(22.504,-3.834),(22.434,-4.226),(22.302,-4.876),(22.182,-5.394),(22.016,-6.036),(21.792,-6.802),(21.628,-7.306),(21.406,-7.932),(21.116,-8.674),(20.854,-9.284)])

ring_491d2150_transform_ = lib.new_cell('ring_491d2150_transform_c99dd43e')
P(ring_491d2150_transform_, L1_0, [(21.046,-9.37),(21.26,-8.878),(21.46,-8.382),(21.65,-7.88),(21.87,-7.246),(22.032,-6.736),(22.254,-5.962),(22.418,-5.314),(22.536,-4.79),(22.616,-4.396),(22.734,-3.736),(22.796,-3.34),(22.898,-2.542),(22.962,-1.874),(22.992,-1.474),(23.02,-0.938),(23.038,-0.268),(23.038,0.268),(23.02,0.938),(22.992,1.474),(22.926,2.274),(22.85,2.94),(22.796,3.34),(22.712,3.868),(22.59,4.528),(22.478,5.052),(22.322,5.704),(22.182,6.222),(22.032,6.736),(21.784,7.5),(21.556,8.132),(21.26,8.878),(21.046,9.37),(21.084,9.386),(21.348,8.77),(21.498,8.396),(21.732,7.768),(21.908,7.26),(22.148,6.49),(22.292,5.974),(22.426,5.452),(22.602,4.666),(22.68,4.272),(22.794,3.61),(22.89,2.946),(22.966,2.278),(23.032,1.476),(23.054,1.074),(23.072,0.538),(23.078,-0.134),(23.06,-0.94),(23.04,-1.342),(23.002,-1.878),(22.938,-2.546),(22.89,-2.946),(22.794,-3.61),(22.68,-4.272),(22.546,-4.93),(22.426,-5.452),(22.222,-6.232),(22.07,-6.748),(21.908,-7.26),(21.778,-7.64),(21.594,-8.146),(21.348,-8.77),(21.084,-9.386)])

grating_concentric_arc_0 = lib.new_cell('grating_concentric_arc_05e878c2')
P(grating_concentric_arc_0, L1_0, [(0,0.174),(0,-0.174),(10.962,-4.882),(11.006,-4.786),(11.24,-4.202),(11.476,-3.508),(11.644,-2.902),(11.78,-2.29),(11.868,-1.774),(11.954,-1.046),(11.99,-0.524),(12,0.104),(11.99,0.524),(11.934,1.254),(11.836,1.98),(11.738,2.496),(11.564,3.206),(11.38,3.808),(11.126,4.496),(10.962,4.882)])
grating_concentric_arc_0.add(gdstk.Reference(straight_3aa2beef, (-10,0)))
grating_concentric_arc_0.add(gdstk.Reference(ring_c83c590c_transform_, (0,0)))
grating_concentric_arc_0.add(gdstk.Reference(ring_425c78cd_transform_, (0,0)))
grating_concentric_arc_0.add(gdstk.Reference(ring_7a5872f6_transform_, (0,0)))
grating_concentric_arc_0.add(gdstk.Reference(ring_21d6e040_transform_, (0,0)))
grating_concentric_arc_0.add(gdstk.Reference(ring_ad2b42c7_transform_, (0,0)))
grating_concentric_arc_0.add(gdstk.Reference(ring_f38378d6_transform_, (0,0)))
grating_concentric_arc_0.add(gdstk.Reference(ring_2936b866_transform_, (0,0)))
grating_concentric_arc_0.add(gdstk.Reference(ring_adfab97c_transform_, (0,0)))
grating_concentric_arc_0.add(gdstk.Reference(ring_77225201_transform_, (0,0)))
grating_concentric_arc_0.add(gdstk.Reference(ring_911f8084_transform_, (0,0)))
grating_concentric_arc_0.add(gdstk.Reference(ring_e3a39798_transform_, (0,0)))
grating_concentric_arc_0.add(gdstk.Reference(ring_db433b30_transform_, (0,0)))
grating_concentric_arc_0.add(gdstk.Reference(ring_ddf0a15f_transform_, (0,0)))
grating_concentric_arc_0.add(gdstk.Reference(ring_08573ffb_transform_, (0,0)))
grating_concentric_arc_0.add(gdstk.Reference(ring_ad8792a6_transform_, (0,0)))
grating_concentric_arc_0.add(gdstk.Reference(ring_8136aac0_transform_, (0,0)))
grating_concentric_arc_0.add(gdstk.Reference(ring_7fa26752_transform_, (0,0)))
grating_concentric_arc_0.add(gdstk.Reference(ring_41d2412d_transform_, (0,0)))
grating_concentric_arc_0.add(gdstk.Reference(ring_1eb0174c_transform_, (0,0)))
grating_concentric_arc_0.add(gdstk.Reference(ring_cddca096_transform_, (0,0)))
grating_concentric_arc_0.add(gdstk.Reference(ring_32dd1939_transform_, (0,0)))
grating_concentric_arc_0.add(gdstk.Reference(ring_471c5b11_transform_, (0,0)))
grating_concentric_arc_0.add(gdstk.Reference(ring_c1d80bca_transform_, (0,0)))
grating_concentric_arc_0.add(gdstk.Reference(ring_ed7d0b69_transform_, (0,0)))
grating_concentric_arc_0.add(gdstk.Reference(ring_68b7bd98_transform_, (0,0)))
grating_concentric_arc_0.add(gdstk.Reference(ring_5797bc1a_transform_, (0,0)))
grating_concentric_arc_0.add(gdstk.Reference(ring_ce6c0f29_transform_, (0,0)))
grating_concentric_arc_0.add(gdstk.Reference(ring_b44f9a86_transform_, (0,0)))
grating_concentric_arc_0.add(gdstk.Reference(ring_49ac115e_transform_, (0,0)))
grating_concentric_arc_0.add(gdstk.Reference(ring_c30d24a6_transform_, (0,0)))
grating_concentric_arc_0.add(gdstk.Reference(ring_088c2a13_transform_, (0,0)))
grating_concentric_arc_0.add(gdstk.Reference(ring_c1351dca_transform_, (0,0)))
grating_concentric_arc_0.add(gdstk.Reference(ring_15236325_transform_, (0,0)))
grating_concentric_arc_0.add(gdstk.Reference(ring_7b63d5cc_transform_, (0,0)))
grating_concentric_arc_0.add(gdstk.Reference(ring_4096f0a4_transform_, (0,0)))
grating_concentric_arc_0.add(gdstk.Reference(ring_491d2150_transform_, (0,0)))

lib.write_gds('grating_concentric_arc_05e878c2.gds')
